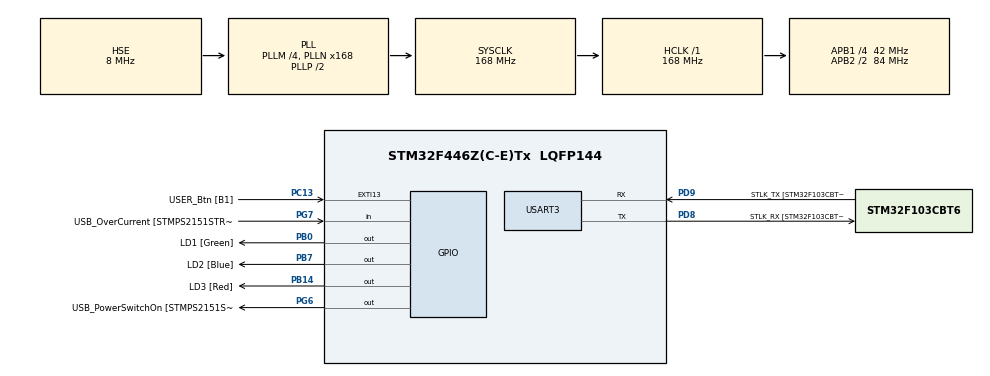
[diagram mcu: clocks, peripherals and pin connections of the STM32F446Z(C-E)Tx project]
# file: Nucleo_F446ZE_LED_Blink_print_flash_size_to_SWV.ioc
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Mcu.Family=STM32F4
Mcu.Name=STM32F446Z(C-E)Tx
Mcu.Package=LQFP144
NVIC.PriorityGroup=NVIC_PRIORITYGROUP_4
PA10.GPIO_Label=USB_ID
PA10.Signal=USB_OTG_FS_ID
PA11.GPIO_Label=USB_DM
PA11.Signal=USB_OTG_FS_DM
PA12.GPIO_Label=USB_DP
PA12.Signal=USB_OTG_FS_DP
PA13.GPIO_Label=TMS
PA13.Mode=Serial_Wire
PA13.Signal=SYS_JTMS-SWDIO
PA14.GPIO_Label=TCK
PA14.Mode=Serial_Wire
PA14.Signal=SYS_JTCK-SWCLK
PA8.GPIO_Label=USB_SOF [TP1]
PA8.Signal=USB_OTG_FS_SOF
PA9.GPIO_Label=USB_VBUS
PA9.Signal=USB_OTG_FS_VBUS
PB0.GPIO_Label=LD1 [Green]
PB0.GPIO_Speed=GPIO_SPEED_FREQ_LOW
PB0.Signal=GPIO_Output
PB14.GPIO_Label=LD3 [Red]
PB14.Signal=GPIO_Output
PB7.GPIO_Label=LD2 [Blue]
PB7.Signal=GPIO_Output
PC13.GPIO_Label=USER_Btn [B1]
PC13.Signal=GPXTI13
PC14-OSC32_IN.Mode=LSE-External-Oscillator
PC14-OSC32_IN.Signal=RCC_OSC32_IN
PC15-OSC32_OUT.Mode=LSE-External-Oscillator
PC15-OSC32_OUT.Signal=RCC_OSC32_OUT
PD8.GPIO_Label=STLK_RX [STM32F103CBT6_PA3]
PD8.Mode=Asynchronous
PD8.Signal=USART3_TX
PD9.GPIO_Label=STLK_TX [STM32F103CBT6_PA2]
PD9.Mode=Asynchronous
PD9.Signal=USART3_RX
PG6.GPIO_Label=USB_PowerSwitchOn [STMPS2151STR_EN]
PG6.Signal=GPIO_Output
PG7.GPIO_Label=USB_OverCurrent [STMPS2151STR_FAULT]
PG7.Signal=GPIO_Input
PH0-OSC_IN.GPIO_Label=MCO [STM32F103CBT6_PA8]
PH0-OSC_IN.Mode=HSE-External-Clock-Source
PH0-OSC_IN.Signal=RCC_OSC_IN
PH1-OSC_OUT.Mode=HSE-External-Clock-Source
PH1-OSC_OUT.Signal=RCC_OSC_OUT
ProjectManager.HeapSize=0x200
ProjectManager.StackSize=0x400
ProjectManager.TargetToolchain=STM32CubeIDE
RCC.48MHZClocksFreq_Value=24000000
RCC.AHBFreq_Value=168000000
RCC.APB1CLKDivider=RCC_HCLK_DIV4
RCC.APB1Freq_Value=42000000
RCC.APB1TimFreq_Value=84000000
RCC.APB2CLKDivider=RCC_HCLK_DIV2
RCC.APB2Freq_Value=84000000
RCC.APB2TimFreq_Value=168000000
RCC.CortexFreq_Value=168000000
RCC.HCLKFreq_Value=168000000
RCC.HSE_VALUE=8000000
RCC.HSI_VALUE=16000000
RCC.PLLM=4
RCC.PLLMUL=RCC_PLL_MUL9
RCC.PLLN=168
RCC.PLLQ=7
RCC.PLLSourceVirtual=RCC_PLLSOURCE_HSE
RCC.PRESCALERUSB=RCC_USBCLKSOURCE_PLL_DIV1_5
RCC.SYSCLKFreq_VALUE=168000000
RCC.SYSCLKSource=RCC_SYSCLKSOURCE_PLLCLK
RCC.SYSCLKSourceVirtual=RCC_SYSCLKSOURCE_PLLCLK
RCC.USBFreq_Value=48000000
RCC.VCOOutputFreq_Value=336000000
USART3.VirtualMode=VM_ASYNC
board=NUCLEO-F446ZE

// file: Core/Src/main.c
/* USER CODE BEGIN Header */
/**
 ******************************************************************************
 * @file           : main.c
 * @brief          : Main program body
 ******************************************************************************
 * @attention
 *
 * Copyright (c) 2023 STMicroelectronics.
 * All rights reserved.
 *
 * This software is licensed under terms that can be found in the LICENSE file
 * in the root directory of this software component.
 * If no LICENSE file comes with this software, it is provided AS-IS.
 *
 ******************************************************************************
 */
/* USER CODE END Header */
#include "main.h"

/* USER CODE BEGIN Includes */
#include "stdio.h"
/* USER CODE END Includes */

UART_HandleTypeDef huart3;

/* USER CODE BEGIN PV */
int counter = 0;
uint16_t (*flash_size) = (uint16_t*) (0x1FFF7A22); // address is specific to  STM32F446, Page 1335 of RM0390
int low = 4;
int high = 8;
/* USER CODE END PV */

void SystemClock_Config(void);
static void MX_GPIO_Init(void);
static void MX_USART3_UART_Init(void);

int main(void)
{

  /* MCU Configuration--------------------------------------------------------*/

  /* Reset of all peripherals, Initializes the Flash interface and the Systick. */
  HAL_Init();

  /* Configure the system clock */
  SystemClock_Config();

  /* Initialize all configured peripherals */
  MX_GPIO_Init();
  MX_USART3_UART_Init();

  /* Infinite loop */
  /* USER CODE BEGIN WHILE */
	while (1) {

		HAL_GPIO_WritePin(GPIOB, LD2_Pin, 1);	//Turn on Blue LED
		HAL_Delay(500);
		HAL_GPIO_WritePin(GPIOB, LD2_Pin, 0); //Turn on Blue LED
		HAL_Delay(500);
		printf("counter = %d\n", counter++); //Print the value of the variable - counter

		high = ((*flash_size >> 8) & 0xFF); //Read the value of the Flash memory size register, shift right 8 bits then AND with 0xFF
											//to clear top 8 bits and preserve the lower 8 bits
		low = ((*flash_size) & 0xFF);//Read the value of the Flash memory size register, then AND with 0xFF
									 //to clear top 8 bits and preserve the lower 8 bits

		printf("Hex flash size = 0x%.2x", high);//Print 0x then the value of HIGH in 2-digit HEX format
		printf("%.2x\n", low);//Print the value of LOW in 2-digit HEX format and then a new line
		printf("Decimal flash size = %d", *flash_size); //Print "Decimal flash size = " then the the value of the address pointed to
														//by the value of the flash_size variable, that's what *flash_size does
		printf("Kb \n\n"); //Print "Kb" then 2 new lines

    /* USER CODE END WHILE */

	}
}

void SystemClock_Config(void)
{
  RCC_OscInitTypeDef RCC_OscInitStruct = {0};
  RCC_ClkInitTypeDef RCC_ClkInitStruct = {0};

  /** Configure the main internal regulator output voltage
  */
  __HAL_RCC_PWR_CLK_ENABLE();
  __HAL_PWR_VOLTAGESCALING_CONFIG(PWR_REGULATOR_VOLTAGE_SCALE1);

  /** Initializes the RCC Oscillators according to the specified parameters
  * in the RCC_OscInitTypeDef structure.
  */
  RCC_OscInitStruct.OscillatorType = RCC_OSCILLATORTYPE_HSE;
  RCC_OscInitStruct.HSEState = RCC_HSE_BYPASS;
  RCC_OscInitStruct.PLL.PLLState = RCC_PLL_ON;
  RCC_OscInitStruct.PLL.PLLSource = RCC_PLLSOURCE_HSE;
  RCC_OscInitStruct.PLL.PLLM = 4;
  RCC_OscInitStruct.PLL.PLLN = 168;
  RCC_OscInitStruct.PLL.PLLP = RCC_PLLP_DIV2;
  RCC_OscInitStruct.PLL.PLLQ = 7;
  RCC_OscInitStruct.PLL.PLLR = 2;
  if (HAL_RCC_OscConfig(&RCC_OscInitStruct) != HAL_OK)
  {
    Error_Handler();
  }

  /** Initializes the CPU, AHB and APB buses clocks
  */
  RCC_ClkInitStruct.ClockType = RCC_CLOCKTYPE_HCLK|RCC_CLOCKTYPE_SYSCLK
                              |RCC_CLOCKTYPE_PCLK1|RCC_CLOCKTYPE_PCLK2;
  RCC_ClkInitStruct.SYSCLKSource = RCC_SYSCLKSOURCE_PLLCLK;
  RCC_ClkInitStruct.AHBCLKDivider = RCC_SYSCLK_DIV1;
  RCC_ClkInitStruct.APB1CLKDivider = RCC_HCLK_DIV4;
  RCC_ClkInitStruct.APB2CLKDivider = RCC_HCLK_DIV2;

  if (HAL_RCC_ClockConfig(&RCC_ClkInitStruct, FLASH_LATENCY_5) != HAL_OK)
  {
    Error_Handler();
  }
}

static void MX_USART3_UART_Init(void)
{

  huart3.Instance = USART3;
  huart3.Init.BaudRate = 115200;
  huart3.Init.WordLength = UART_WORDLENGTH_8B;
  huart3.Init.StopBits = UART_STOPBITS_1;
  huart3.Init.Parity = UART_PARITY_NONE;
  huart3.Init.Mode = UART_MODE_TX_RX;
  huart3.Init.HwFlowCtl = UART_HWCONTROL_NONE;
  huart3.Init.OverSampling = UART_OVERSAMPLING_16;
  if (HAL_UART_Init(&huart3) != HAL_OK)
  {
    Error_Handler();
  }

}

static void MX_GPIO_Init(void)
{
  GPIO_InitTypeDef GPIO_InitStruct = {0};

  /* GPIO Ports Clock Enable */
  __HAL_RCC_GPIOC_CLK_ENABLE();
  __HAL_RCC_GPIOH_CLK_ENABLE();
  __HAL_RCC_GPIOB_CLK_ENABLE();
  __HAL_RCC_GPIOD_CLK_ENABLE();
  __HAL_RCC_GPIOG_CLK_ENABLE();
  __HAL_RCC_GPIOA_CLK_ENABLE();

  /*Configure GPIO pin Output Level */
  HAL_GPIO_WritePin(GPIOB, LD1_Pin|LD3_Pin|LD2_Pin, GPIO_PIN_RESET);

  /*Configure GPIO pin Output Level */
  HAL_GPIO_WritePin(USB_PowerSwitchOn_GPIO_Port, USB_PowerSwitchOn_Pin, GPIO_PIN_RESET);

  /*Configure GPIO pin : USER_Btn_Pin */
  GPIO_InitStruct.Pin = USER_Btn_Pin;
  GPIO_InitStruct.Mode = GPIO_MODE_IT_RISING;
  GPIO_InitStruct.Pull = GPIO_NOPULL;
  HAL_GPIO_Init(USER_Btn_GPIO_Port, &GPIO_InitStruct);

  /*Configure GPIO pins : LD1_Pin LD3_Pin LD2_Pin */
  GPIO_InitStruct.Pin = LD1_Pin|LD3_Pin|LD2_Pin;
  GPIO_InitStruct.Mode = GPIO_MODE_OUTPUT_PP;
  GPIO_InitStruct.Pull = GPIO_NOPULL;
  GPIO_InitStruct.Speed = GPIO_SPEED_FREQ_LOW;
  HAL_GPIO_Init(GPIOB, &GPIO_InitStruct);

  /*Configure GPIO pin : USB_PowerSwitchOn_Pin */
  GPIO_InitStruct.Pin = USB_PowerSwitchOn_Pin;
  GPIO_InitStruct.Mode = GPIO_MODE_OUTPUT_PP;
  GPIO_InitStruct.Pull = GPIO_NOPULL;
  GPIO_InitStruct.Speed = GPIO_SPEED_FREQ_LOW;
  HAL_GPIO_Init(USB_PowerSwitchOn_GPIO_Port, &GPIO_InitStruct);

  /*Configure GPIO pin : USB_OverCurrent_Pin */
  GPIO_InitStruct.Pin = USB_OverCurrent_Pin;
  GPIO_InitStruct.Mode = GPIO_MODE_INPUT;
  GPIO_InitStruct.Pull = GPIO_NOPULL;
  HAL_GPIO_Init(USB_OverCurrent_GPIO_Port, &GPIO_InitStruct);

  /*Configure GPIO pins : USB_SOF_Pin USB_ID_Pin USB_DM_Pin USB_DP_Pin */
  GPIO_InitStruct.Pin = USB_SOF_Pin|USB_ID_Pin|USB_DM_Pin|USB_DP_Pin;
  GPIO_InitStruct.Mode = GPIO_MODE_AF_PP;
  GPIO_InitStruct.Pull = GPIO_NOPULL;
  GPIO_InitStruct.Speed = GPIO_SPEED_FREQ_VERY_HIGH;
  GPIO_InitStruct.Alternate = GPIO_AF10_OTG_FS;
  HAL_GPIO_Init(GPIOA, &GPIO_InitStruct);

  /*Configure GPIO pin : USB_VBUS_Pin */
  GPIO_InitStruct.Pin = USB_VBUS_Pin;
  GPIO_InitStruct.Mode = GPIO_MODE_INPUT;
  GPIO_InitStruct.Pull = GPIO_NOPULL;
  HAL_GPIO_Init(USB_VBUS_GPIO_Port, &GPIO_InitStruct);

}

/* USER CODE BEGIN 4 */
int _write(int file, char *ptr, int len) {
	(void) file;
	int DataIdx;

	for (DataIdx = 0; DataIdx < len; DataIdx++) {
		ITM_SendChar(*ptr++);
	}
	return len;
}
/* USER CODE END 4 */

void Error_Handler(void)
{
	__disable_irq();
	while (1) {
	}
}
